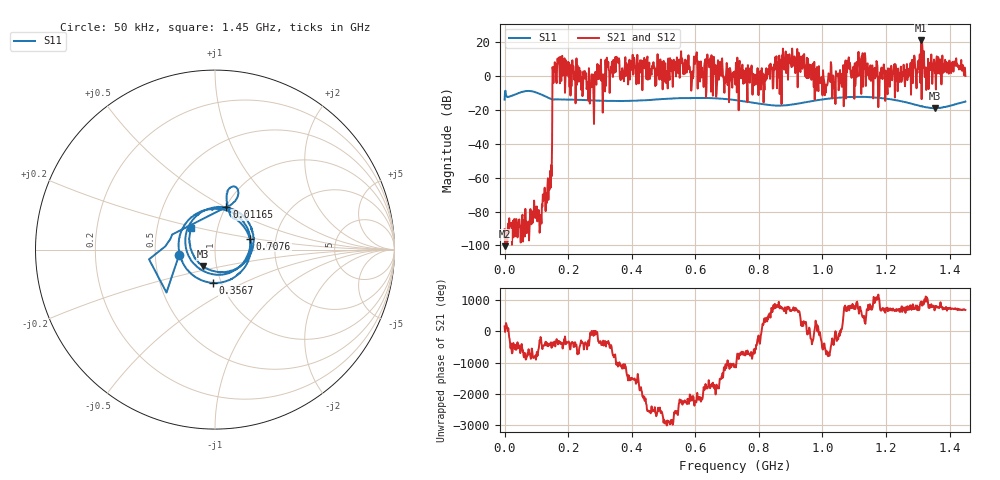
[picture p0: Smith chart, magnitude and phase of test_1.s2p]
! Created with skrf 1.11.0 (http://scikit-rf.org).
# Hz S RI R 50.0
!freq ReS11 ImS11 ReS21 ImS21 ReS12 ImS12 ReS22 ImS22
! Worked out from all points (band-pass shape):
!   1001 points, 50 kHz to 1.45 GHz, reference 50 ohm
!   highest |S21| = 21.15 dB at 1.311 GHz (marker M1); lowest = -100.5 dB at 1.5 MHz (marker M2)
!   |S21| within 3 dB of the highest: 1.310446 GHz to 1.31093 GHz (484.7 kHz wide, 0.037 % of centre); 1.313637 GHz to 1.31424 GHz (602.6 kHz wide, 0.0459 % of centre)
!   lowest |S11| = -18.9 dB at 1.354 GHz (marker M3), VSWR 1.26, Z = 43.2 - j8.1 ohm
!   |S11| at or under -10 dB: start of sweep to 1.17 MHz; 3.75 MHz to 43.53 MHz (39.78 MHz wide, 168 % of centre); 104.7 MHz to end of sweep
!   |S22| runs from - to - dB; largest |S21 - S12| = 0
!   S11 on the Smith chart (normalised r, x): 50 kHz: 0.67, -0.04; 11.65 MHz: 1.01, +0.51; 356.7 MHz: 0.91, -0.35; 707.6 MHz: 1.47, +0.19; 1.45 GHz: 0.75, +0.19
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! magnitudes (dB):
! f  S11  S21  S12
! 50 kHz  -13.9  -90.4  -90.4
! 1.5 MHz  -8.8  -100.5  -100.5
! 11.65 MHz  -12.2  -87.1  -87.1
! 110.2 MHz  -10.4  -92.5  -92.5
! 134.9 MHz  -12.4  -65.0  -65.0
! 142.1 MHz  -13.1  -65.0  -65.0
! 158.1 MHz  -13.8  8.3  8.3
! 163.9 MHz  -13.7  -4.1  -4.1
! 242.2 MHz  -14.0  -8.2  -8.2
! 275.5 MHz  -14.3  -6.4  -6.4
! 356.7 MHz  -14.6  10.3  10.3
! 484.3 MHz  -13.6  3.2  3.2
! 645.3 MHz  -12.9  9.4  9.4
! 707.6 MHz  -13.8  -5.9  -5.9
! 725 MHz  -14.1  -4.0  -4.0
! 967.2 MHz  -14.7  5.8  5.8
! 1.006 GHz  -13.6  -3.9  -3.9
! 1.083 GHz  -12.3  11.2  11.2
! 1.209 GHz  -13.5  -1.1  -1.1
! 1.311 GHz  -17.8  21.1  21.1
! 1.354 GHz  -18.9  1.9  1.9
! 1.45 GHz  -15.0  0.2  0.2
